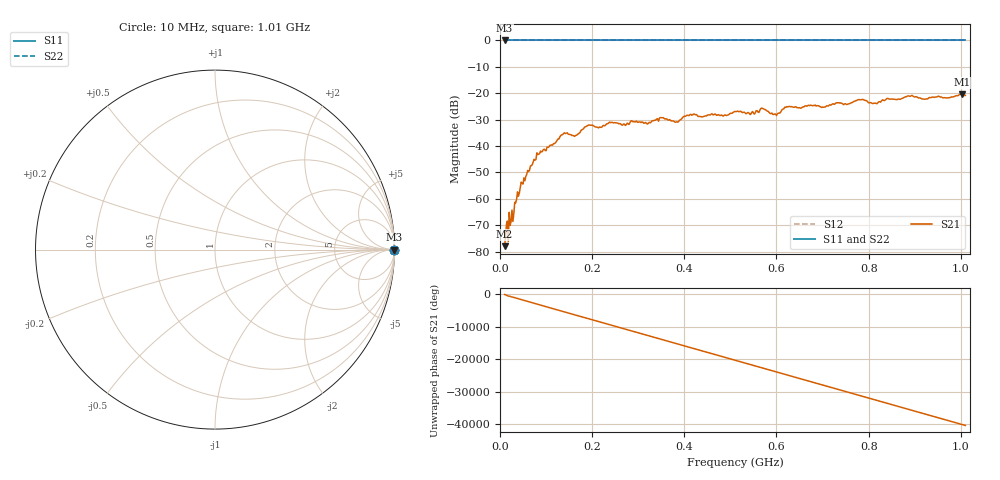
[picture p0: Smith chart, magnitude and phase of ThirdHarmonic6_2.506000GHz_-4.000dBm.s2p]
! 8/17/2025 4:50:14 AM
! C:\ANRITSUVNA\TEMP\TEMP.S2P
! CHANNEL.1
! TR.MEASUREMENT
! RAW.DATA
! RF.CORRECTION.OFF
! AVERAGING.OFF
! IF.BANDWIDTH: 5KHZ
! SWEEPTYPE:  FREQ.SWEEP(Linear)
! Reference Plane Port Info
! PORT:  PORT1  PORT2
! DISTANCE:  0  m  0  m
! TIME:  0  s  0  s
! PHASE.OFFSET:  0  deg.  0  deg.
! LOSS:  0  dB  0  dB
! REF.LOSS:  0  dB  0  dB
! REF.FREQ:  0  Hz  0  Hz
! Power Info
! POWER:  -20  dBm  -20  dBm
! EFF.POWER:  -20  dBm  -20  dBm
! SOURCE.ATTEN:  0  dB  0  dB
! TEST.ATTEN:  0  dB  0  dB
# GHZ S RI R 50.0
! FREQ.GHZ  S11RE  S11IM  S21RE  S21IM  S12RE  S12IM  S22RE  S22IM
!; PortSelection: Port_12
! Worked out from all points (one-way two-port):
!   501 points, 10 MHz to 1.01 GHz, reference 50 ohm
!   highest |S21| = -20.37 dB at 1.002 GHz (marker M1); lowest = -77.9 dB at 10 MHz (marker M2)
!   lowest |S11| = 0.0 dB at 10 MHz (marker M3)
!   |S11| at or under -10 dB: nowhere
!   |S22| runs from 0.0 to 0.0 dB; largest |S21 - S12| = 1.1
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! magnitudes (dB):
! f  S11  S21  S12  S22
! 10 MHz  0.0  -77.9  0.0  0.0
! 16 MHz  0.0  -68.4  0.0  0.0
! 26 MHz  0.0  -64.2  0.0  0.0
! 36 MHz  0.0  -60.2  0.0  0.0
! 48 MHz  0.0  -54.2  0.0  0.0
! 84 MHz  0.0  -43.1  0.0  0.0
! 136 MHz  0.0  -35.6  0.0  0.0
! 164 MHz  0.0  -36.0  0.0  0.0
! 178 MHz  0.0  -33.8  0.0  0.0
! 194 MHz  0.0  -32.0  0.0  0.0
! 344 MHz  0.0  -30.6  0.0  0.0
! 384 MHz  0.0  -30.9  0.0  0.0
! 410 MHz  0.0  -28.5  0.0  0.0
! 510 MHz  0.0  -26.9  0.0  0.0
! 548 MHz  0.0  -26.9  0.0  0.0
! 570 MHz  0.0  -25.7  0.0  0.0
! 596 MHz  0.0  -27.9  0.0  0.0
! 622 MHz  0.0  -25.1  0.0  0.0
! 678 MHz  0.0  -24.7  0.0  0.0
! 844 MHz  0.0  -22.1  0.0  0.0
! 1.002 GHz  0.0  -20.4  0.0  0.0
! 1.01 GHz  0.0  -20.8  0.0  0.0
